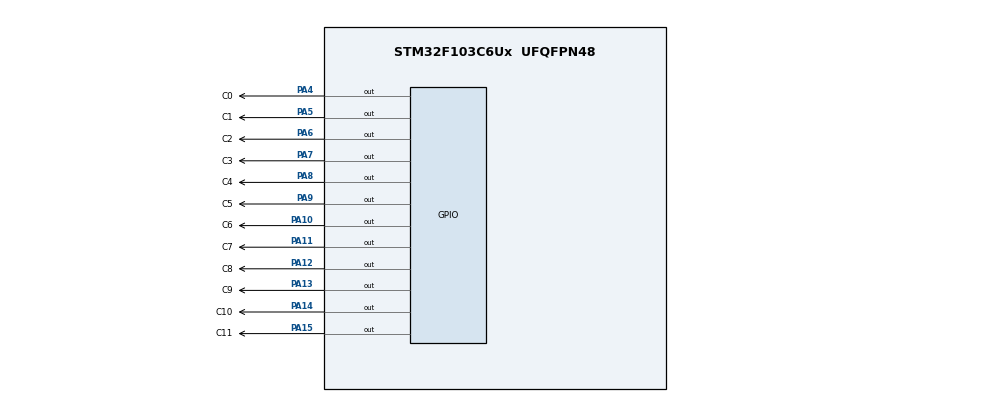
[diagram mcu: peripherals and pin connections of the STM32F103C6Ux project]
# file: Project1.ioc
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Mcu.Family=STM32F1
Mcu.Name=STM32F103C6Ux
Mcu.Package=UFQFPN48
NVIC.PriorityGroup=NVIC_PRIORITYGROUP_4
PA10.GPIO_Label=C6
PA10.Signal=GPIO_Output
PA11.GPIO_Label=C7
PA11.Signal=GPIO_Output
PA12.GPIO_Label=C8
PA12.Signal=GPIO_Output
PA13.GPIO_Label=C9
PA13.Signal=GPIO_Output
PA14.GPIO_Label=C10
PA14.Signal=GPIO_Output
PA15.GPIO_Label=C11
PA15.Signal=GPIO_Output
PA4.GPIO_Label=C0
PA4.Signal=GPIO_Output
PA5.GPIO_Label=C1
PA5.Signal=GPIO_Output
PA6.GPIO_Label=C2
PA6.Signal=GPIO_Output
PA7.GPIO_Label=C3
PA7.Signal=GPIO_Output
PA8.GPIO_Label=C4
PA8.Signal=GPIO_Output
PA9.GPIO_Label=C5
PA9.Signal=GPIO_Output
ProjectManager.HeapSize=0x200
ProjectManager.StackSize=0x400
ProjectManager.TargetToolchain=STM32CubeIDE
RCC.APB1Freq_Value=8000000
RCC.APB2Freq_Value=8000000
VP_SYS_VS_ND.Mode=No_Debug
board=custom

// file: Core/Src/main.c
/* USER CODE BEGIN Header */
/**
  ******************************************************************************
  * @file           : main.c
  * @brief          : Main program body
  ******************************************************************************
  * @attention
  *
  * <h2><center>&copy; Copyright (c) 2025 STMicroelectronics.
  * All rights reserved.</center></h2>
  *
  * This software component is licensed by ST under BSD 3-Clause license,
  * the "License"; You may not use this file except in compliance with the
  * License. You may obtain a copy of the License at:
  *                        opensource.org/licenses/BSD-3-Clause
  *
  ******************************************************************************
  */
/* USER CODE END Header */
#include "main.h"
#include "analog_clock.h"

void SystemClock_Config(void);
static void MX_GPIO_Init(void);

int main(void)
{

  /* MCU Configuration--------------------------------------------------------*/

  /* Reset of all peripherals, Initializes the Flash interface and the Systick. */
  HAL_Init();

  /* Configure the system clock */
  SystemClock_Config();

  /* Initialize all configured peripherals */
  MX_GPIO_Init();
  /* USER CODE BEGIN 2 */
  int hour=2, minute=59,second=55;
  /* USER CODE END 2 */

  /* Infinite loop */
  /* USER CODE BEGIN WHILE */
  while (1)
  {

	  clearAllClock();
	  int h_idx = hour % 12;
	  int m_idx = (minute/5) % 12;
	  int s_idx = (second/5) % 12;

	  setNumberOnClock(h_idx);
	  setNumberOnClock(m_idx);
	  setNumberOnClock(s_idx);

	  HAL_Delay(1000);

	  second++;
	  if(second >= 60){
		  second = 0;
		  minute++;
	  }
	  if(minute >= 60){
		  minute = 0;
		  hour++;
	  }
	  if(hour >=24) hour = 0;
    /* USER CODE END WHILE */

  }
}

void SystemClock_Config(void)
{
  RCC_OscInitTypeDef RCC_OscInitStruct = {0};
  RCC_ClkInitTypeDef RCC_ClkInitStruct = {0};

  /** Initializes the RCC Oscillators according to the specified parameters
  * in the RCC_OscInitTypeDef structure.
  */
  RCC_OscInitStruct.OscillatorType = RCC_OSCILLATORTYPE_HSI;
  RCC_OscInitStruct.HSIState = RCC_HSI_ON;
  RCC_OscInitStruct.HSICalibrationValue = RCC_HSICALIBRATION_DEFAULT;
  RCC_OscInitStruct.PLL.PLLState = RCC_PLL_NONE;
  if (HAL_RCC_OscConfig(&RCC_OscInitStruct) != HAL_OK)
  {
    Error_Handler();
  }
  /** Initializes the CPU, AHB and APB buses clocks
  */
  RCC_ClkInitStruct.ClockType = RCC_CLOCKTYPE_HCLK|RCC_CLOCKTYPE_SYSCLK
                              |RCC_CLOCKTYPE_PCLK1|RCC_CLOCKTYPE_PCLK2;
  RCC_ClkInitStruct.SYSCLKSource = RCC_SYSCLKSOURCE_HSI;
  RCC_ClkInitStruct.AHBCLKDivider = RCC_SYSCLK_DIV1;
  RCC_ClkInitStruct.APB1CLKDivider = RCC_HCLK_DIV1;
  RCC_ClkInitStruct.APB2CLKDivider = RCC_HCLK_DIV1;

  if (HAL_RCC_ClockConfig(&RCC_ClkInitStruct, FLASH_LATENCY_0) != HAL_OK)
  {
    Error_Handler();
  }
}

static void MX_GPIO_Init(void)
{
  GPIO_InitTypeDef GPIO_InitStruct = {0};

  /* GPIO Ports Clock Enable */
  __HAL_RCC_GPIOA_CLK_ENABLE();

  /*Configure GPIO pin Output Level */
  HAL_GPIO_WritePin(GPIOA, C0_Pin|C1_Pin|C2_Pin|C3_Pin
                          |C4_Pin|C5_Pin|C6_Pin|C7_Pin
                          |C8_Pin|C9_Pin|C10_Pin|C11_Pin, GPIO_PIN_RESET);

  /*Configure GPIO pins : C0_Pin C1_Pin C2_Pin C3_Pin
                           C4_Pin C5_Pin C6_Pin C7_Pin
                           C8_Pin C9_Pin C10_Pin C11_Pin */
  GPIO_InitStruct.Pin = C0_Pin|C1_Pin|C2_Pin|C3_Pin
                          |C4_Pin|C5_Pin|C6_Pin|C7_Pin
                          |C8_Pin|C9_Pin|C10_Pin|C11_Pin;
  GPIO_InitStruct.Mode = GPIO_MODE_OUTPUT_PP;
  GPIO_InitStruct.Pull = GPIO_NOPULL;
  GPIO_InitStruct.Speed = GPIO_SPEED_FREQ_LOW;
  HAL_GPIO_Init(GPIOA, &GPIO_InitStruct);

}

void Error_Handler(void)
{
  __disable_irq();
  while (1)
  {
  }
}

/************************ (C) COPYRIGHT STMicroelectronics *****END OF FILE****/
